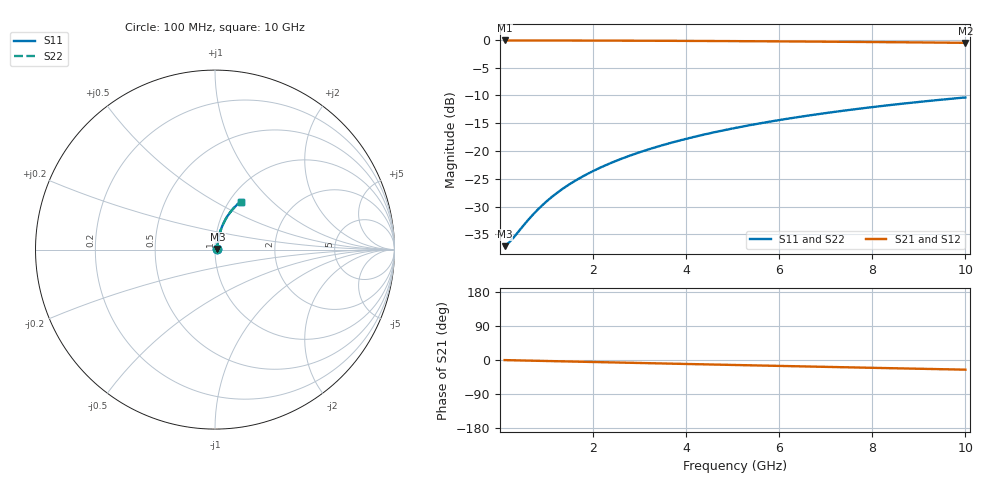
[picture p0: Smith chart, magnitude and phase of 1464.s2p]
# Hz S RI R 50.00
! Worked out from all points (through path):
!   100 points, 100 MHz to 10 GHz, reference 50 ohm
!   highest |S21| = -0.12 dB at 100 MHz (marker M1); lowest = -0.5 dB at 10 GHz (marker M2)
!   group delay of S21, straight-line fit = 7.1 ps
!   lowest |S11| = -37.1 dB at 100 MHz (marker M3), VSWR 1.03, Z = 51.4 + j0.325 ohm
!   |S11| at or under -10 dB: start of sweep to end of sweep
!   |S22| runs from -37.1 to -10.4 dB; largest |S21 - S12| = 0
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1e8  0.0135 0.00317  0.9865 -0.00453  0.9865 -0.00453  0.0135 0.00317
2e8  0.0137 0.00633  0.9863 -0.00905  0.9863 -0.00905  0.0137 0.00633
3e8  0.0138 0.0095  0.9862 -0.0136  0.9862 -0.0136  0.0138 0.0095
5e8  0.0141 0.0158  0.9858 -0.0226  0.9858 -0.0226  0.0141 0.0158
7e8  0.0146 0.0221  0.9854 -0.0317  0.9854 -0.0317  0.0146 0.0221
8e8  0.0148 0.0253  0.9851 -0.0362  0.9851 -0.0362  0.0148 0.0253
1e9  0.0154 0.0316  0.9845 -0.0452  0.9845 -0.0452  0.0154 0.0316
1.2e9  0.0161 0.0379  0.9838 -0.0542  0.9838 -0.0542  0.0161 0.0379
1.4e9  0.0169 0.0441  0.9829 -0.0632  0.9829 -0.0632  0.0169 0.0441
1.6e9  0.0178 0.0504  0.9819 -0.0722  0.9819 -0.0722  0.0178 0.0504
1.8e9  0.0188 0.0566  0.9809 -0.0811  0.9809 -0.0811  0.0188 0.0566
2.1e9  0.0205 0.0659  0.979 -0.0945  0.979 -0.0945  0.0205 0.0659
2.5e9  0.0232 0.0782  0.9761 -0.1122  0.9761 -0.1122  0.0232 0.0782
2.9e9  0.0264 0.0904  0.9728 -0.1299  0.9728 -0.1299  0.0264 0.0904
3.4e9  0.0309 0.1054  0.968 -0.1517  0.968 -0.1517  0.0309 0.1054
4.2e9  0.0395 0.1288  0.9588 -0.186  0.9588 -0.186  0.0395 0.1288
5.1e9  0.0511 0.1541  0.9464 -0.2237  0.9464 -0.2237  0.0511 0.1541
5.9e9  0.0629 0.1756  0.9337 -0.2561  0.9337 -0.2561  0.0629 0.1756
6.7e9  0.0762 0.1961  0.9195 -0.2875  0.9195 -0.2875  0.0762 0.1961
7.5e9  0.0907 0.2153  0.9039 -0.3178  0.9039 -0.3178  0.0907 0.2153
8.4e9  0.1084 0.2355  0.8848 -0.3504  0.8848 -0.3504  0.1084 0.2355
1e10  0.1429 0.2672  0.8475 -0.4042  0.8475 -0.4042  0.1429 0.2672
